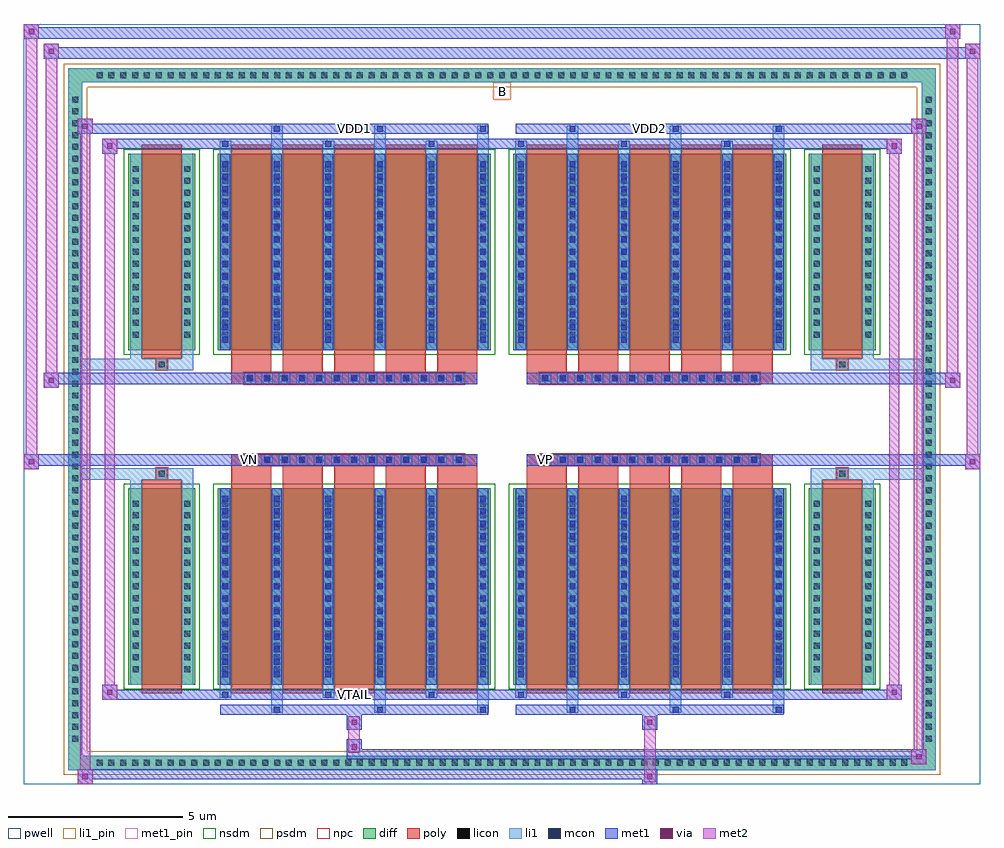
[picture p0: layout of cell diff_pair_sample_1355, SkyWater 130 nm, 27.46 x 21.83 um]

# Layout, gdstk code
import gdstk
lib = gdstk.Library(unit=1e-6, precision=5e-09)
def R(c, l, rs):  # rectangles x0, y0, x1, y1
    for r in rs: c.add(gdstk.rectangle(r[:2], r[2:], *l))
def A(c, l, x, y, w, h, nx, ny, dx, dy):  # array of equal rectangles
    R(c, l, [(x+i*dx, y+j*dy, x+i*dx+w, y+j*dy+h) for i in range(nx) for j in range(ny)])
def P(c, l, *ps):  # polygons
    for p in ps: c.add(gdstk.Polygon(p, *l))
pwell = (64, 44)
diff = (65, 20)
poly = (66, 20)
licon = (66, 44)
li1_pin = (67, 16)
li1 = (67, 20)
mcon = (67, 44)
met1_pin = (68, 16)
met1 = (68, 20)
via = (68, 44)
met2 = (69, 20)
nsdm = (93, 44)
psdm = (94, 20)
npc = (95, 20)

diff_pair_sample_1355 = lib.new_cell('diff_pair_sample_1355')
R(diff_pair_sample_1355, pwell, [(-13.73,-10.48,13.73,11.35), (-11.05,-8.67,-0.01,-0.805), (0.01,-8.67,11.05,-0.805), (-11.05,0.805,-0.01,8.67), (0.01,0.805,11.05,8.67)])
A(diff_pair_sample_1355, diff, -11.765, -10.08, 0.41, 0.41, 69, 2, 0.34, 19.75)
A(diff_pair_sample_1355, diff, -12.46, -9.385, 0.41, 0.41, 1, 55, 0, 0.34)
A(diff_pair_sample_1355, diff, 12.05, -9.385, 0.41, 0.41, 1, 55, 0, 0.34)
R(diff_pair_sample_1355, diff, [(-11.765,-10.08,11.765,-9.67), (-12.46,-9.385,-12.05,9.385), (12.05,-9.385,12.46,9.385), (-10.74,-7.625,-8.81,-1.985), (-8.17,-7.625,-0.32,-1.985), (0.32,-7.625,8.17,-1.985), (8.81,-7.625,10.74,-1.985), (-10.74,1.985,-8.81,7.625), (-8.17,1.985,-0.32,7.625), (0.32,1.985,8.17,7.625), (8.81,1.985,10.74,7.625), (-11.765,9.67,11.765,10.08)])
P(diff_pair_sample_1355, diff, [(12.46,10.08),(-12.46,10.08),(-12.46,-9.67),(-12.05,-9.67),(-12.05,9.67),(12.05,9.67),(12.05,-9.67),(-12.05,-9.67),(-12.46,-9.67),(-12.46,-10.08),(12.46,-10.08)])
A(diff_pair_sample_1355, poly, -7.78, -7.875, 1.15, 6.14, 5, 2, 1.48, 9.61)
A(diff_pair_sample_1355, poly, 0.71, -7.875, 1.15, 6.14, 5, 2, 1.48, 9.61)
A(diff_pair_sample_1355, poly, -7.78, -1.735, 1.15, 0.4, 5, 2, 1.48, 3.07)
A(diff_pair_sample_1355, poly, 0.71, -1.735, 1.15, 0.4, 5, 2, 1.48, 3.07)
A(diff_pair_sample_1355, poly, -7.41, -1.335, 0.33, 0.33, 13, 2, 0.5, 2.34)
A(diff_pair_sample_1355, poly, 1.08, -1.335, 0.33, 0.33, 13, 2, 0.5, 2.34)
R(diff_pair_sample_1355, poly, [(-10.35,-7.875,-9.2,-1.735), (9.2,-7.875,10.35,-1.735), (-9.94,-1.735,-9.61,-1.405), (-9.94,-1.735,-9.61,-1.405), (9.61,-1.735,9.94,-1.405), (9.61,-1.735,9.94,-1.405), (-7.78,-1.335,-0.71,-1.005), (0.71,-1.335,7.78,-1.005), (-7.78,1.005,-0.71,1.335), (0.71,1.005,7.78,1.335), (-9.94,1.405,-9.61,1.735), (-9.94,1.405,-9.61,1.735), (9.61,1.405,9.94,1.735), (9.61,1.405,9.94,1.735), (-10.35,1.735,-9.2,7.875), (9.2,1.735,10.35,7.875)])
A(diff_pair_sample_1355, licon, -11.645, -9.96, 0.17, 0.17, 69, 2, 0.34, 19.75)
A(diff_pair_sample_1355, licon, -12.34, -9.265, 0.17, 0.17, 1, 55, 0, 0.34)
A(diff_pair_sample_1355, licon, 12.17, -9.265, 0.17, 0.17, 1, 55, 0, 0.34)
A(diff_pair_sample_1355, licon, -10.6, -7.27, 0.17, 0.17, 1, 15, 0, 0.34)
A(diff_pair_sample_1355, licon, -9.12, -7.27, 0.17, 0.17, 1, 15, 0, 0.34)
A(diff_pair_sample_1355, licon, -8.03, -7.27, 0.17, 0.17, 6, 15, 1.48, 0.34)
A(diff_pair_sample_1355, licon, 0.46, -7.27, 0.17, 0.17, 6, 15, 1.48, 0.34)
A(diff_pair_sample_1355, licon, 8.95, -7.27, 0.17, 0.17, 1, 15, 0, 0.34)
A(diff_pair_sample_1355, licon, 10.43, -7.27, 0.17, 0.17, 1, 15, 0, 0.34)
A(diff_pair_sample_1355, licon, -7.33, -1.255, 0.17, 0.17, 13, 2, 0.5, 2.34)
A(diff_pair_sample_1355, licon, 1.16, -1.255, 0.17, 0.17, 13, 2, 0.5, 2.34)
A(diff_pair_sample_1355, licon, -10.6, 2.34, 0.17, 0.17, 1, 15, 0, 0.34)
A(diff_pair_sample_1355, licon, -9.12, 2.34, 0.17, 0.17, 1, 15, 0, 0.34)
A(diff_pair_sample_1355, licon, -8.03, 2.34, 0.17, 0.17, 6, 15, 1.48, 0.34)
A(diff_pair_sample_1355, licon, 0.46, 2.34, 0.17, 0.17, 6, 15, 1.48, 0.34)
A(diff_pair_sample_1355, licon, 8.95, 2.34, 0.17, 0.17, 1, 15, 0, 0.34)
A(diff_pair_sample_1355, licon, 10.43, 2.34, 0.17, 0.17, 1, 15, 0, 0.34)
R(diff_pair_sample_1355, licon, [(-9.86,-1.655,-9.69,-1.485), (9.69,-1.655,9.86,-1.485), (-9.86,1.485,-9.69,1.655), (9.69,1.485,9.86,1.655)])
R(diff_pair_sample_1355, li1_pin, [(-0.25,9.17,0.25,9.67)])
A(diff_pair_sample_1355, li1, -11.725, -10.04, 0.33, 0.33, 69, 2, 0.34, 19.75)
A(diff_pair_sample_1355, li1, -12.42, -9.345, 0.33, 0.33, 1, 55, 0, 0.34)
A(diff_pair_sample_1355, li1, 12.09, -9.345, 0.33, 0.33, 1, 55, 0, 0.34)
A(diff_pair_sample_1355, li1, -6.63, -8.43, 0.33, 0.805, 3, 2, 2.96, 16.055)
A(diff_pair_sample_1355, li1, -6.55, -8.43, 0.17, 0.17, 3, 2, 2.96, 16.69)
A(diff_pair_sample_1355, li1, 1.86, -8.43, 0.33, 0.805, 3, 2, 2.96, 16.055)
A(diff_pair_sample_1355, li1, 1.94, -8.43, 0.17, 0.17, 3, 2, 2.96, 16.69)
A(diff_pair_sample_1355, li1, -8.11, -8, 0.33, 0.375, 3, 2, 2.96, 15.625)
A(diff_pair_sample_1355, li1, -8.03, -8, 0.17, 0.17, 3, 2, 2.96, 15.83)
A(diff_pair_sample_1355, li1, 0.38, -8, 0.33, 0.375, 3, 2, 2.96, 15.625)
A(diff_pair_sample_1355, li1, 0.46, -8, 0.17, 0.17, 3, 2, 2.96, 15.83)
A(diff_pair_sample_1355, li1, -8.11, -7.625, 0.33, 5.64, 6, 2, 1.48, 9.61)
A(diff_pair_sample_1355, li1, 0.38, -7.625, 0.33, 5.64, 6, 2, 1.48, 9.61)
A(diff_pair_sample_1355, li1, -8.03, -7.41, 0.17, 0.17, 6, 15, 1.48, 0.36)
A(diff_pair_sample_1355, li1, -8.03, -7.41, 0.17, 5.21, 6, 2, 1.48, 9.61)
A(diff_pair_sample_1355, li1, 0.46, -7.41, 0.17, 0.17, 6, 15, 1.48, 0.36)
A(diff_pair_sample_1355, li1, 0.46, -7.41, 0.17, 5.21, 6, 2, 1.48, 9.61)
A(diff_pair_sample_1355, li1, -10.68, -7.35, 0.33, 0.33, 1, 15, 0, 0.34)
A(diff_pair_sample_1355, li1, -9.2, -7.35, 0.33, 0.33, 1, 15, 0, 0.34)
A(diff_pair_sample_1355, li1, -8.11, -7.35, 0.33, 0.33, 6, 15, 1.48, 0.34)
A(diff_pair_sample_1355, li1, 0.38, -7.35, 0.33, 0.33, 6, 15, 1.48, 0.34)
A(diff_pair_sample_1355, li1, 8.87, -7.35, 0.33, 0.33, 1, 15, 0, 0.34)
A(diff_pair_sample_1355, li1, 10.35, -7.35, 0.33, 0.33, 1, 15, 0, 0.34)
A(diff_pair_sample_1355, li1, -7.41, -1.335, 0.33, 0.33, 13, 2, 0.5, 2.34)
A(diff_pair_sample_1355, li1, 1.08, -1.335, 0.33, 0.33, 13, 2, 0.5, 2.34)
A(diff_pair_sample_1355, li1, -8.03, 2.2, 0.17, 0.17, 6, 15, 1.48, 0.36)
A(diff_pair_sample_1355, li1, 0.46, 2.2, 0.17, 0.17, 6, 15, 1.48, 0.36)
A(diff_pair_sample_1355, li1, -10.68, 2.26, 0.33, 0.33, 1, 15, 0, 0.34)
A(diff_pair_sample_1355, li1, -9.2, 2.26, 0.33, 0.33, 1, 15, 0, 0.34)
A(diff_pair_sample_1355, li1, -8.11, 2.26, 0.33, 0.33, 6, 15, 1.48, 0.34)
A(diff_pair_sample_1355, li1, 0.38, 2.26, 0.33, 0.33, 6, 15, 1.48, 0.34)
A(diff_pair_sample_1355, li1, 8.87, 2.26, 0.33, 0.33, 1, 15, 0, 0.34)
A(diff_pair_sample_1355, li1, 10.35, 2.26, 0.33, 0.33, 1, 15, 0, 0.34)
R(diff_pair_sample_1355, li1, [(-12.46,-10.08,-12.05,-9.67), (-12.46,-10.08,-12.05,-9.67), (-12.05,-10.08,12.05,-9.67), (12.05,-10.08,12.46,-9.67), (12.05,-10.08,12.46,-9.67), (-12.46,-9.67,-12.05,9.67), (12.05,-9.67,12.46,9.67), (-10.68,-7.625,-10.35,-1.985), (-9.2,-7.625,-8.87,-1.985), (8.87,-7.625,9.2,-1.985), (10.35,-7.625,10.68,-1.985), (-10.68,-1.985,-10.35,-1.405), (-9.2,-1.985,-8.87,-1.405), (8.87,-1.985,9.2,-1.405), (10.35,-1.985,10.68,-1.405), (-12.46,-1.735,-9.94,-1.405), (-10.68,-1.735,-9.94,-1.405), (-9.94,-1.735,-9.61,-1.405), (-9.61,-1.735,-8.87,-1.405), (8.87,-1.735,9.61,-1.405), (9.61,-1.735,9.94,-1.405), (9.61,-1.735,12.46,-1.405), (9.94,-1.735,10.68,-1.405), (-12.46,1.405,-9.94,1.735), (-10.68,1.405,-9.94,1.735), (-10.68,1.405,-10.35,1.985), (-9.94,1.405,-9.61,1.735), (-9.61,1.405,-8.87,1.735), (-9.2,1.405,-8.87,1.985), (8.87,1.405,9.61,1.735), (8.87,1.405,9.2,1.985), (9.61,1.405,9.94,1.735), (9.61,1.405,12.46,1.735), (9.94,1.405,10.68,1.735), (10.35,1.405,10.68,1.985), (-10.68,1.985,-10.35,7.625), (-9.2,1.985,-8.87,7.625), (8.87,1.985,9.2,7.625), (10.35,1.985,10.68,7.625), (-12.46,9.67,-12.05,10.08), (-12.46,9.67,-12.05,10.08), (-12.05,9.67,12.05,10.08), (12.05,9.67,12.46,10.08), (12.05,9.67,12.46,10.08)])
A(diff_pair_sample_1355, mcon, -6.55, -8.43, 0.17, 0.17, 3, 2, 2.96, 16.69)
A(diff_pair_sample_1355, mcon, 1.94, -8.43, 0.17, 0.17, 3, 2, 2.96, 16.69)
A(diff_pair_sample_1355, mcon, -8.03, -8, 0.17, 0.17, 3, 2, 2.96, 15.83)
A(diff_pair_sample_1355, mcon, 0.46, -8, 0.17, 0.17, 3, 2, 2.96, 15.83)
A(diff_pair_sample_1355, mcon, -8.03, -7.41, 0.17, 0.17, 6, 15, 1.48, 0.36)
A(diff_pair_sample_1355, mcon, 0.46, -7.41, 0.17, 0.17, 6, 15, 1.48, 0.36)
A(diff_pair_sample_1355, mcon, -7.33, -1.255, 0.17, 0.17, 13, 2, 0.5, 2.34)
A(diff_pair_sample_1355, mcon, 1.16, -1.255, 0.17, 0.17, 13, 2, 0.5, 2.34)
A(diff_pair_sample_1355, mcon, -8.03, 2.2, 0.17, 0.17, 6, 15, 1.48, 0.36)
A(diff_pair_sample_1355, mcon, 0.46, 2.2, 0.17, 0.17, 6, 15, 1.48, 0.36)
R(diff_pair_sample_1355, met1_pin, [(-4.38,-8.04,-4.11,-7.77), (-7.38,-1.295,-7.11,-1.025), (1.11,-1.295,1.38,-1.025), (-4.38,8.22,-4.11,8.49), (4.11,8.22,4.38,8.49)])
A(diff_pair_sample_1355, met1, -6.61, -8.49, 0.29, 0.29, 3, 2, 2.96, 16.69)
A(diff_pair_sample_1355, met1, 1.88, -8.49, 0.29, 0.29, 3, 2, 2.96, 16.69)
A(diff_pair_sample_1355, met1, -8.09, -8.06, 0.29, 0.29, 3, 2, 2.96, 15.83)
A(diff_pair_sample_1355, met1, 0.4, -8.06, 0.29, 0.29, 3, 2, 2.96, 15.83)
A(diff_pair_sample_1355, met1, -8.09, -7.625, 0.29, 5.64, 6, 2, 1.48, 9.61)
A(diff_pair_sample_1355, met1, 0.4, -7.625, 0.29, 5.64, 6, 2, 1.48, 9.61)
A(diff_pair_sample_1355, met1, -8.09, -7.47, 0.29, 0.29, 6, 15, 1.48, 0.36)
A(diff_pair_sample_1355, met1, 0.4, -7.47, 0.29, 0.29, 6, 15, 1.48, 0.36)
A(diff_pair_sample_1355, met1, -7.39, -1.315, 0.29, 0.29, 13, 2, 0.5, 2.34)
A(diff_pair_sample_1355, met1, 1.1, -1.315, 0.29, 0.29, 13, 2, 0.5, 2.34)
A(diff_pair_sample_1355, met1, -8.09, 2.14, 0.29, 0.29, 6, 15, 1.48, 0.36)
A(diff_pair_sample_1355, met1, 0.4, 2.14, 0.29, 0.29, 6, 15, 1.48, 0.36)
R(diff_pair_sample_1355, met1, [(-12.19,-10.48,-11.76,-10.05), (4.03,-10.48,4.46,-10.05), (-12.19,-10.34,4.46,-10.05), (11.76,-9.91,12.19,-9.48), (-4.46,-9.77,12.19,-9.48), (-4.46,-9.63,-4.03,-9.2), (-4.46,-8.92,-4.03,-8.49), (4.03,-8.92,4.46,-8.49), (-8.09,-8.49,-0.4,-8.2), (0.4,-8.49,8.09,-8.2), (-11.48,-8.06,-11.05,-7.63), (-11.48,-8.06,-8.09,-7.77), (-8.09,-8.06,-0.4,-7.77), (-0.4,-8.06,0.4,-7.77), (0.4,-8.06,8.09,-7.77), (8.09,-8.06,11.48,-7.77), (11.05,-8.06,11.48,-7.63), (-13.73,-1.435,-13.3,-1.005), (13.3,-1.435,13.73,-1.005), (-13.73,-1.335,-0.71,-1.005), (-7.78,-1.335,-0.71,-1.005), (0.71,-1.335,7.78,-1.005), (0.71,-1.335,13.73,-1.005), (-13.16,0.905,-12.73,1.335), (12.73,0.905,13.16,1.335), (-13.16,1.005,-7.78,1.335), (-7.78,1.005,-0.71,1.335), (0.71,1.005,7.78,1.335), (7.78,1.005,13.16,1.335), (-11.48,7.63,-11.05,8.06), (11.05,7.63,11.48,8.06), (-11.48,7.77,-8.09,8.06), (-8.09,7.77,-0.4,8.06), (-0.4,7.77,0.4,8.06), (0.4,7.77,8.09,8.06), (8.09,7.77,11.48,8.06), (-12.19,8.2,-11.76,8.63), (-12.19,8.2,-8.09,8.49), (-8.09,8.2,-0.4,8.49), (0.4,8.2,8.09,8.49), (8.09,8.2,12.19,8.49), (11.76,8.2,12.19,8.63), (-13.16,10.35,-12.73,10.78), (-13.16,10.35,-11.05,10.68), (-11.05,10.35,11.05,10.68), (11.05,10.35,13.73,10.68), (13.3,10.35,13.73,10.78), (-13.73,10.92,-13.3,11.35), (-13.73,10.92,-11.05,11.25), (-11.05,10.92,11.05,11.25), (11.05,10.92,13.16,11.25), (12.73,10.92,13.16,11.35)])
R(diff_pair_sample_1355, via, [(-12.05,-10.34,-11.9,-10.19), (4.17,-10.34,4.32,-10.19), (11.9,-9.77,12.05,-9.62), (-4.32,-9.49,-4.17,-9.34), (-4.32,-8.78,-4.17,-8.63), (4.17,-8.78,4.32,-8.63), (-11.34,-7.92,-11.19,-7.77), (11.19,-7.92,11.34,-7.77), (-13.59,-1.295,-13.44,-1.145), (13.44,-1.295,13.59,-1.145), (-13.02,1.045,-12.87,1.195), (12.87,1.045,13.02,1.195), (-11.34,7.77,-11.19,7.92), (11.19,7.77,11.34,7.92), (-12.05,8.34,-11.9,8.49), (11.9,8.34,12.05,8.49), (-13.02,10.49,-12.87,10.64), (13.44,10.49,13.59,10.64), (-13.59,11.06,-13.44,11.21), (12.87,11.06,13.02,11.21)])
R(diff_pair_sample_1355, met2, [(-12.19,-10.48,-11.76,-10.05), (-12.12,-10.48,-11.83,8.63), (-11.83,-10.48,-11.76,-10.05), (-12.14,-10.43,-11.81,-10.1), (4.08,-10.43,4.41,-10.1), (4.08,-10.1,4.41,-8.87), (11.76,-9.91,12.19,-9.48), (11.83,-9.91,12.12,8.63), (12.12,-9.91,12.19,-9.48), (11.81,-9.86,12.14,-9.53), (-4.41,-9.58,-4.08,-9.25), (-4.41,-9.25,-4.08,-8.87), (-4.41,-8.87,-4.08,-8.54), (4.08,-8.87,4.41,-8.54), (-11.48,-8.06,-11.05,-7.63), (-11.41,-8.06,-11.12,8.06), (-11.12,-8.06,-11.05,-7.63), (11.05,-8.06,11.48,-7.63), (11.12,-8.06,11.41,8.06), (11.41,-8.06,11.48,-7.63), (-11.43,-8.01,-11.1,-7.68), (11.1,-8.01,11.43,-7.68), (-13.73,-1.435,-13.3,-1.005), (-13.68,-1.435,-13.35,11.35), (-13.35,-1.435,-13.3,-1.005), (13.3,-1.435,13.73,-1.005), (13.35,-1.435,13.68,10.78), (13.68,-1.435,13.73,-1.005), (-13.68,-1.385,-13.35,-1.055), (13.35,-1.385,13.68,-1.055), (-13.16,0.905,-12.73,1.335), (-13.11,0.905,-12.78,10.78), (-12.78,0.905,-12.73,1.335), (12.73,0.905,13.16,1.335), (12.78,0.905,13.11,11.35), (13.11,0.905,13.16,1.335), (-13.11,0.955,-12.78,1.285), (12.78,0.955,13.11,1.285), (-11.48,7.63,-11.05,8.06), (-11.12,7.63,-11.05,8.06), (11.05,7.63,11.48,8.06), (11.41,7.63,11.48,8.06), (-11.43,7.68,-11.1,8.01), (11.1,7.68,11.43,8.01), (-12.19,8.2,-11.76,8.63), (-11.83,8.2,-11.76,8.63), (11.76,8.2,12.19,8.63), (12.12,8.2,12.19,8.63), (-12.14,8.25,-11.81,8.58), (11.81,8.25,12.14,8.58), (-13.16,10.35,-12.73,10.78), (-12.78,10.35,-12.73,10.78), (13.3,10.35,13.73,10.78), (13.68,10.35,13.73,10.78), (-13.11,10.4,-12.78,10.73), (13.35,10.4,13.68,10.73), (-13.73,10.92,-13.3,11.35), (-13.35,10.92,-13.3,11.35), (12.73,10.92,13.16,11.35), (13.11,10.92,13.16,11.35), (-13.68,10.97,-13.35,11.3), (12.78,10.97,13.11,11.3)])
R(diff_pair_sample_1355, nsdm, [(-10.87,-7.755,-8.68,-1.855), (-8.3,-7.755,-0.19,-1.855), (0.19,-7.755,8.3,-1.855), (8.68,-7.755,10.87,-1.855), (-10.87,1.855,-8.68,7.755), (-8.3,1.855,-0.19,7.755), (0.19,1.855,8.3,7.755), (8.68,1.855,10.87,7.755)])
P(diff_pair_sample_1355, psdm, [(12.59,10.21),(-12.59,10.21),(-12.59,-9.54),(-11.92,-9.54),(-11.92,9.54),(11.92,9.54),(11.92,-9.54),(-11.92,-9.54),(-12.59,-9.54),(-12.59,-10.21),(12.59,-10.21)])
A(diff_pair_sample_1355, npc, -7.43, -1.355, 0.37, 0.37, 13, 2, 0.5, 2.34)
A(diff_pair_sample_1355, npc, 1.06, -1.355, 0.37, 0.37, 13, 2, 0.5, 2.34)
R(diff_pair_sample_1355, npc, [(-9.96,-1.755,-9.59,-1.385), (9.59,-1.755,9.96,-1.385), (-7.43,-1.355,-6.56,-0.985), (-7.43,-1.355,-6.56,-0.985), (-6.93,-1.355,-6.06,-0.985), (-6.93,-1.355,-6.06,-0.985), (-6.43,-1.355,-5.56,-0.985), (-6.43,-1.355,-5.56,-0.985), (-5.93,-1.355,-5.06,-0.985), (-5.93,-1.355,-5.06,-0.985), (-5.43,-1.355,-4.56,-0.985), (-5.43,-1.355,-4.56,-0.985), (-4.93,-1.355,-4.06,-0.985), (-4.93,-1.355,-4.06,-0.985), (-4.43,-1.355,-3.56,-0.985), (-4.43,-1.355,-3.56,-0.985), (-3.93,-1.355,-3.06,-0.985), (-3.93,-1.355,-3.06,-0.985), (-3.43,-1.355,-2.56,-0.985), (-3.43,-1.355,-2.56,-0.985), (-2.93,-1.355,-2.06,-0.985), (-2.93,-1.355,-2.06,-0.985), (-2.43,-1.355,-1.56,-0.985), (-2.43,-1.355,-1.56,-0.985), (-1.93,-1.355,-1.06,-0.985), (-1.93,-1.355,-1.06,-0.985), (1.06,-1.355,1.93,-0.985), (1.06,-1.355,1.93,-0.985), (1.56,-1.355,2.43,-0.985), (1.56,-1.355,2.43,-0.985), (2.06,-1.355,2.93,-0.985), (2.06,-1.355,2.93,-0.985), (2.56,-1.355,3.43,-0.985), (2.56,-1.355,3.43,-0.985), (3.06,-1.355,3.93,-0.985), (3.06,-1.355,3.93,-0.985), (3.56,-1.355,4.43,-0.985), (3.56,-1.355,4.43,-0.985), (4.06,-1.355,4.93,-0.985), (4.06,-1.355,4.93,-0.985), (4.56,-1.355,5.43,-0.985), (4.56,-1.355,5.43,-0.985), (5.06,-1.355,5.93,-0.985), (5.06,-1.355,5.93,-0.985), (5.56,-1.355,6.43,-0.985), (5.56,-1.355,6.43,-0.985), (6.06,-1.355,6.93,-0.985), (6.06,-1.355,6.93,-0.985), (6.56,-1.355,7.43,-0.985), (6.56,-1.355,7.43,-0.985), (-7.43,0.985,-6.56,1.355), (-7.43,0.985,-6.56,1.355), (-6.93,0.985,-6.06,1.355), (-6.93,0.985,-6.06,1.355), (-6.43,0.985,-5.56,1.355), (-6.43,0.985,-5.56,1.355), (-5.93,0.985,-5.06,1.355), (-5.93,0.985,-5.06,1.355), (-5.43,0.985,-4.56,1.355), (-5.43,0.985,-4.56,1.355), (-4.93,0.985,-4.06,1.355), (-4.93,0.985,-4.06,1.355), (-4.43,0.985,-3.56,1.355), (-4.43,0.985,-3.56,1.355), (-3.93,0.985,-3.06,1.355), (-3.93,0.985,-3.06,1.355), (-3.43,0.985,-2.56,1.355), (-3.43,0.985,-2.56,1.355), (-2.93,0.985,-2.06,1.355), (-2.93,0.985,-2.06,1.355), (-2.43,0.985,-1.56,1.355), (-2.43,0.985,-1.56,1.355), (-1.93,0.985,-1.06,1.355), (-1.93,0.985,-1.06,1.355), (1.06,0.985,1.93,1.355), (1.06,0.985,1.93,1.355), (1.56,0.985,2.43,1.355), (1.56,0.985,2.43,1.355), (2.06,0.985,2.93,1.355), (2.06,0.985,2.93,1.355), (2.56,0.985,3.43,1.355), (2.56,0.985,3.43,1.355), (3.06,0.985,3.93,1.355), (3.06,0.985,3.93,1.355), (3.56,0.985,4.43,1.355), (3.56,0.985,4.43,1.355), (4.06,0.985,4.93,1.355), (4.06,0.985,4.93,1.355), (4.56,0.985,5.43,1.355), (4.56,0.985,5.43,1.355), (5.06,0.985,5.93,1.355), (5.06,0.985,5.93,1.355), (5.56,0.985,6.43,1.355), (5.56,0.985,6.43,1.355), (6.06,0.985,6.93,1.355), (6.06,0.985,6.93,1.355), (6.56,0.985,7.43,1.355), (6.56,0.985,7.43,1.355), (-9.96,1.385,-9.59,1.755), (9.59,1.385,9.96,1.755)])
diff_pair_sample_1355.add(gdstk.Label('VTAIL', (-4.245,-7.905), layer=68, texttype=5))
diff_pair_sample_1355.add(gdstk.Label('VN', (-7.245,-1.16), layer=68, texttype=5))
diff_pair_sample_1355.add(gdstk.Label('VP', (1.245,-1.16), layer=68, texttype=5))
diff_pair_sample_1355.add(gdstk.Label('B', (0,9.42), layer=67, texttype=5))
diff_pair_sample_1355.add(gdstk.Label('VDD2', (4.245,8.355), layer=68, texttype=5))
diff_pair_sample_1355.add(gdstk.Label('VDD1', (-4.245,8.355), layer=68, texttype=5))

lib.write_gds('diff_pair_sample_1355.gds')
